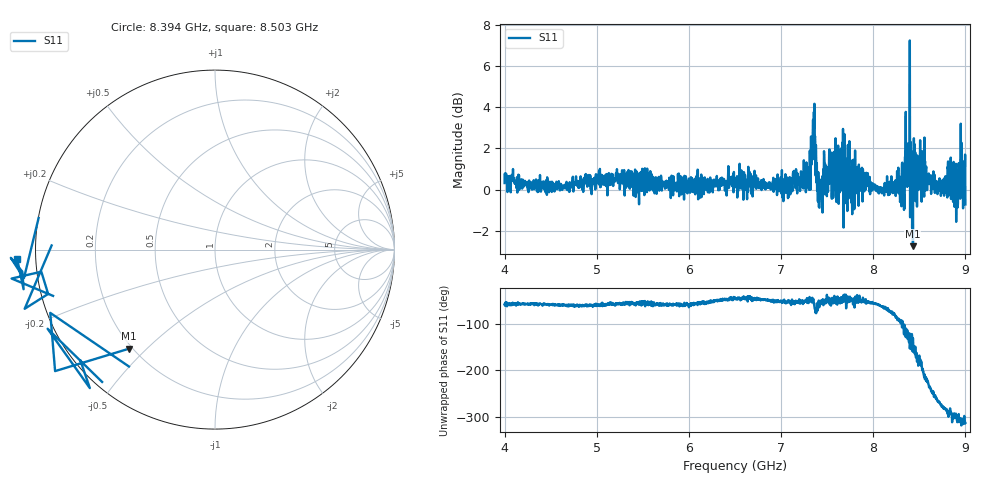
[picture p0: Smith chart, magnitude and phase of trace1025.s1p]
! Created with skrf 1.8.0 (http://scikit-rf.org).
# Hz S RI R 50.0
!freq ReS11 ImS11
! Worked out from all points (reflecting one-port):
!   1601 points, 4 GHz to 9 GHz, reference 50 ohm
!   lowest |S11| = -2.7 dB at 8.431 GHz (marker M1), VSWR 6.41, Z = 9.38 - j22.2 ohm
!   phase of S11 starts at -58 deg and turns -255 deg over the sweep
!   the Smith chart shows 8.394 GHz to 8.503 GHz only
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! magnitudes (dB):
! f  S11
! 4 GHz  0.3
! 4.625 GHz  0.0
! 5.25 GHz  0.0
! 5.875 GHz  0.1
! 6.5 GHz  0.5
! 7.038 GHz  0.1
! 7.125 GHz  0.3
! 7.294 GHz  0.8
! 7.347 GHz  3.4
! 7.369 GHz  2.6
! 7.394 GHz  0.2
! 7.416 GHz  -0.9
! 7.519 GHz  1.1
! 7.619 GHz  2.1
! 7.662 GHz  0.4
! 7.75 GHz  -0.3
! 8.316 GHz  1.3
! 8.334 GHz  -1.0
! 8.356 GHz  1.0
! 8.372 GHz  0.2
! 8.375 GHz  0.5
! 8.431 GHz  -2.7
! 8.503 GHz  0.9
! 8.709 GHz  0.1
! 8.831 GHz  0.4
! 8.875 GHz  0.5
! 8.972 GHz  0.7
! 9 GHz  -0.7
